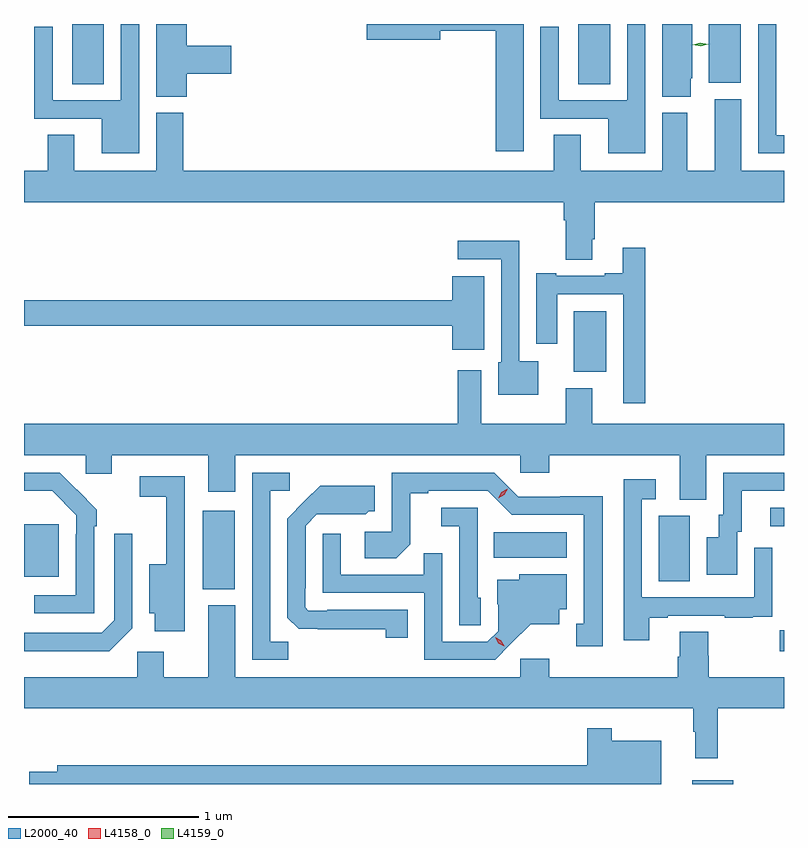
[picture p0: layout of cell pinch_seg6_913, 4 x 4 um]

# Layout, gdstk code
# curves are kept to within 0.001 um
import gdstk
lib = gdstk.Library(unit=1e-6, precision=1e-09)
def R(c, l, rs):  # rectangles x0, y0, x1, y1
    for r in rs: c.add(gdstk.rectangle(r[:2], r[2:], *l))
def P(c, l, *ps):  # polygons
    for p in ps: c.add(gdstk.Polygon(p, *l))
L2000_40 = (2000, 40)
L4158_0 = (4158, 0)
L4159_0 = (4159, 0)

pinch_seg6_913 = lib.new_cell('pinch_seg6_913')
R(pinch_seg6_913, L2000_40, [(353.975,940.277,354.19,940.297), (354.435,940.976,354.457,941.086), (351.398,941.303,351.565,941.716), (353.798,941.344,353.962,941.688), (350.457,941.369,350.641,941.644), (352.93,941.468,353.314,941.602), (354.384,941.634,354.457,941.73), (353.351,942.446,353.521,942.766), (350.711,943.96,350.878,944.277), (353.375,943.96,353.542,944.277), (354.062,943.967,354.229,944.277)])
P(pinch_seg6_913, L2000_40, [(353.086,944.277),(352.26,944.277),(352.26,944.195),(352.648,944.195),(352.648,944.242),(352.94,944.242),(352.94,943.608),(353.086,943.608)],
  [(351.063,944.277),(350.967,944.277),(350.967,943.875),(350.607,943.875),(350.607,944.263),(350.511,944.263),(350.511,943.779),(350.867,943.779),(350.867,943.598),(351.063,943.598)],
  [(354.457,943.691),(354.417,943.691),(354.417,944.277),(354.321,944.277),(354.321,943.596),(354.457,943.596)],
  [(353.727,944.277),(353.631,944.277),(353.631,943.875),(353.271,943.875),(353.271,944.263),(353.175,944.263),(353.175,943.779),(353.531,943.779),(353.531,943.598),(353.727,943.598)],
  [(351.314,944.015),(351.547,944.015),(351.547,944.162),(351.314,944.162),(351.314,944.277),(351.153,944.277),(351.153,944.177),(351.152,944.177),(351.152,943.894),(351.314,943.894)],
  [(353.965,943.992),(353.974,943.992),(353.974,944.277),(353.816,944.277),(353.816,943.894),(353.965,943.894)],
  [(353.449,943.144),(353.462,943.144),(353.462,943.34),(354.457,943.34),(354.457,943.504),(354.232,943.504),(354.232,943.882),(354.092,943.882),(354.092,943.504),(353.947,943.504),(353.947,943.809),(353.816,943.809),(353.816,943.504),(353.386,943.504),(353.386,943.694),(353.246,943.694),(353.246,943.504),(351.296,943.504),(351.296,943.809),(351.152,943.809),(351.152,943.504),(350.722,943.504),(350.722,943.694),(350.582,943.694),(350.582,943.504),(350.457,943.504),(350.457,943.34),(353.297,943.34),(353.297,943.244),(353.309,943.244),(353.309,943.036),(353.449,943.036)],
  [(353.164,942.502),(353.064,942.502),(353.064,943.136),(352.74,943.136),(352.74,943.038),(352.968,943.038),(352.968,942.498),(352.952,942.498),(352.952,942.326),(353.164,942.326)],
  [(353.726,943.099),(353.609,943.099),(353.609,942.964),(353.513,942.964),(353.513,942.951),(353.257,942.951),(353.257,942.964),(353.153,942.964),(353.153,942.594),(353.263,942.594),(353.263,942.855),(353.61,942.855),(353.61,942.282),(353.726,942.282)],
  [(352.879,942.949),(352.712,942.949),(352.712,942.824),(350.457,942.824),(350.457,942.688),(352.712,942.688),(352.712,942.563),(352.879,942.563)],
  [(354.049,942.008),(354.457,942.008),(354.457,942.172),(353.449,942.172),(353.449,942.361),(353.309,942.361),(353.309,942.172),(352.864,942.172),(352.864,942.454),(352.739,942.454),(352.739,942.172),(350.457,942.172),(350.457,942.008),(350.781,942.008),(350.781,941.91),(350.92,941.91),(350.92,942.008),(351.428,942.008),(351.428,941.814),(351.568,941.814),(351.568,942.008),(353.07,942.008),(353.07,941.915),(353.222,941.915),(353.222,942.008),(353.909,942.008),(353.909,941.773),(354.049,941.773)],
  [(353.503,941.792),(353.28,941.792),(353.28,941.79),(353.058,941.79),(352.932,941.916),(352.392,941.916),(352.392,941.604),(352.251,941.604),(352.251,941.464),(352.415,941.464),(352.491,941.54),(352.491,941.808),(352.585,941.808),(352.585,941.82),(352.899,941.82),(353.025,941.694),(353.402,941.694),(353.402,941.121),(353.363,941.121),(353.363,941.001),(353.503,941.001)],
  [(350.826,941.633),(350.841,941.633),(350.841,941.721),(350.644,941.916),(350.457,941.916),(350.457,941.82),(350.605,941.82),(350.733,941.691),(350.733,941.591),(350.73,941.591),(350.73,941.271),(350.511,941.271),(350.511,941.175),(350.826,941.175)],
  [(354.211,941.604),(354.235,941.604),(354.235,941.82),(354.457,941.82),(354.457,941.916),(354.138,941.916),(354.138,941.694),(354.113,941.694),(354.113,941.575),(354.05,941.575),(354.05,941.379),(354.211,941.379)],
  [(351.849,941.027),(351.753,941.027),(351.753,941.82),(351.856,941.82),(351.856,941.916),(351.657,941.916),(351.657,940.932),(351.849,940.932)],
  [(351.304,941.313),(351.303,941.313),(351.303,941.898),(351.066,941.898),(351.066,941.79),(351.206,941.79),(351.206,941.434),(351.116,941.434),(351.116,941.177),(351.146,941.177),(351.146,941.082),(351.304,941.082)],
  [(353.749,941.151),(353.845,941.151),(353.845,941.163),(354.145,941.163),(354.145,941.151),(354.293,941.151),(354.293,941.157),(354.395,941.157),(354.395,941.266),(354.396,941.266),(354.396,941.521),(354.3,941.521),(354.3,941.259),(353.709,941.259),(353.709,941.775),(353.782,941.775),(353.782,941.881),(353.613,941.881),(353.613,941.034),(353.749,941.034)],
  [(352.478,941.193),(352.054,941.193),(352.054,941.19),(351.954,941.19),(351.936,941.208),(351.936,941.308),(351.939,941.308),(351.939,941.637),(351.999,941.697),(352.256,941.696),(352.272,941.712),(352.303,941.712),(352.303,941.848),(352.015,941.848),(351.843,941.674),(351.843,941.152),(351.902,941.093),(352.36,941.092),(352.36,941.046),(352.478,941.046)],
  [(352.86,941.256),(352.845,941.256),(352.845,941.73),(352.653,941.73),(352.653,941.633),(352.749,941.633),(352.749,941.113),(352.86,941.113)],
  [(351.027,941.097),(351.027,941.593),(350.931,941.593),(350.931,941.139),(350.865,941.073),(350.457,941.073),(350.457,940.976),(350.906,940.976)],
  [(353.02,941.015),(353.123,941.117),(353.275,941.117),(353.275,941.196),(353.314,941.196),(353.314,941.38),(353.064,941.38),(353.064,941.353),(352.949,941.353),(352.949,941.224),(352.953,941.224),(352.953,941.082),(352.896,941.025),(352.659,941.025),(352.659,941.492),(352.561,941.492),(352.561,941.379),(352.125,941.379),(352.125,941.593),(352.029,941.593),(352.029,941.283),(352.563,941.283),(352.563,940.932),(352.936,940.932)],
  [(354.107,940.676),(354.457,940.676),(354.457,940.84),(354.062,940.84),(354.062,940.953),(354.057,940.953),(354.057,941.078),(353.909,941.078),(353.909,940.946),(353.897,940.946),(353.897,940.84),(353.222,940.84),(353.222,940.936),(353.07,940.936),(353.07,940.84),(351.568,940.84),(351.568,941.218),(351.428,941.218),(351.428,940.84),(351.193,940.84),(351.193,940.972),(351.054,940.972),(351.054,940.84),(350.457,940.84),(350.457,940.676),(353.979,940.676),(353.979,940.553),(353.99,940.553),(353.99,940.413),(354.107,940.413)],
  [(353.812,940.504),(353.551,940.504),(353.551,940.57),(353.422,940.57),(353.422,940.375),(350.633,940.375),(350.633,940.341),(350.484,940.341),(350.484,940.277),(353.812,940.277)])
P(pinch_seg6_913, L4158_0, [(352.952,941.78),(352.952,941.78),(352.97,941.813),(353.002,941.832),(353.002,941.832),(353.002,941.831),(352.984,941.799),(352.953,941.78)],
  [(352.984,941.003),(352.953,941.019),(352.936,941.049),(352.936,941.049),(352.937,941.049),(352.967,941.033),(352.984,941.004),(352.984,941.003)])
P(pinch_seg6_913, L4159_0, [(354.018,944.159),(353.977,944.168),(353.977,944.168),(353.977,944.168),(354.017,944.179),(354.058,944.171),(354.058,944.17),(354.058,944.17)])

lib.write_gds('pinch_seg6_913.gds')
